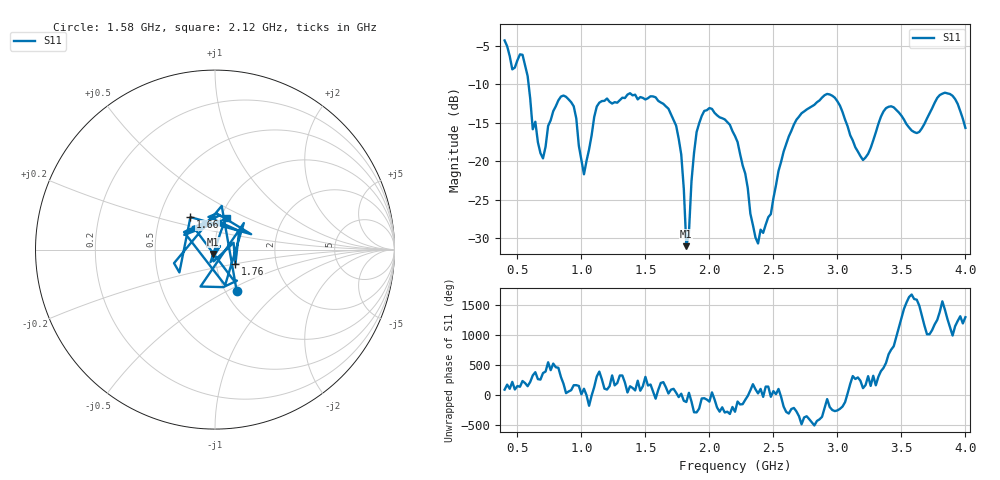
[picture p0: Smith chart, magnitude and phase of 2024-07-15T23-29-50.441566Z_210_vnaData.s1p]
!Created with skrf (http://scikit-rf.org).
# Hz S RI R 50.0
!freq ReS11 ImS11
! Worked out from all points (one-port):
!   181 points, 400 MHz to 4 GHz, reference 50 ohm
!   lowest |S11| = -31.0 dB at 1.82 GHz (marker M1), VSWR 1.06, Z = 48.6 - j2.41 ohm
!   |S11| at or under -10 dB: 587.2 MHz to end of sweep
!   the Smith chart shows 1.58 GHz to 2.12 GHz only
!   S11 on the Smith chart (normalised r, x): 1.58 GHz: 1.13, -0.56; 1.66 GHz: 0.72, +0.27; 1.76 GHz: 1.24, -0.21; 2.12 GHz: 1.08, +0.39
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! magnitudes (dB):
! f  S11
! 400 MHz  -4.3
! 460 MHz  -8.1
! 540 MHz  -6.2
! 620 MHz  -15.9
! 700 MHz  -19.6
! 860 MHz  -11.5
! 940 MHz  -12.9
! 1.02 GHz  -21.7
! 1.12 GHz  -12.9
! 1.3 GHz  -12.1
! 1.58 GHz  -11.7
! 1.66 GHz  -12.9
! 1.76 GHz  -17.1
! 1.8 GHz  -23.6
! 1.82 GHz  -31.0
! 1.88 GHz  -18.9
! 1.92 GHz  -15.1
! 2.12 GHz  -14.6
! 2.2 GHz  -16.7
! 2.38 GHz  -30.7
! 2.66 GHz  -15.3
! 2.92 GHz  -11.3
! 3.1 GHz  -16.6
! 3.2 GHz  -19.9
! 3.38 GHz  -13.1
! 3.56 GHz  -15.6
! 3.84 GHz  -11.1
! 4 GHz  -15.7
